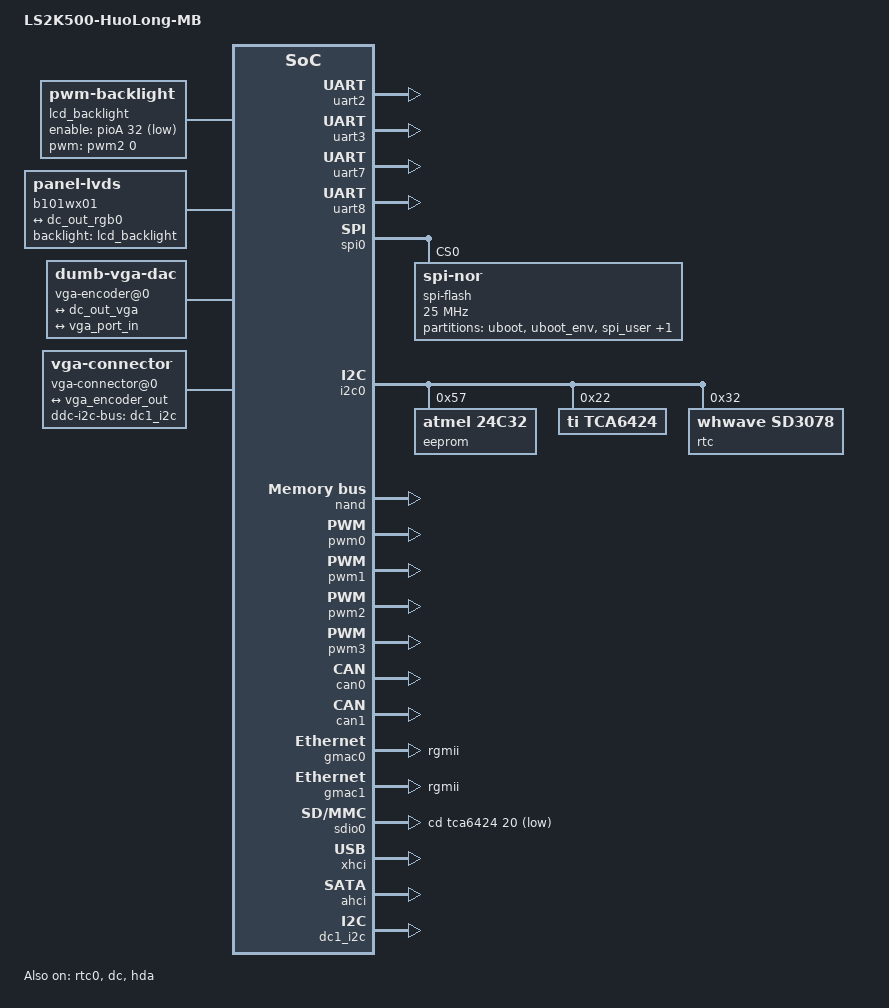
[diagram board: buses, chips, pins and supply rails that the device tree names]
#include "loongson2k500.dtsi"
#include "loongson_panel_param.dtsi"

/ {
    model = "LS2K500-HuoLong-MB";
    chosen {
		stdout-path = "serial2:115200n8";
		bootargs = "earlycon";
	};

    // not need memory node, we get memory info from boot params.
    // memory {
	// 	name = "memory";
	// 	device_type = "memory";
	// 	reg =  <0 0x00200000 0 0x0ee00000	/* low 256MB, 0 ~ 2MB reserved, highest 16MB reserved. */
	// 			0 0x90000000 0 0x30000000>;	/* hige 256M ~ 1G */
	// };

    reserved-memory {
		#address-cells = <2>;
		#size-cells = <2>;
		ranges;

		linux,cma {
			compatible = "shared-dma-pool";
			reusable;
			size = <0 0x02000000>;
            alloc-ranges = <0 0x00200000 0 0x09000000>;
			linux,cma-default;
		};

        fb_memory: framebuffer@0b000000 {
            compatible = "shared-dma-pool";
			no-map;
			reg = <0 0x0b000000 0 0x04000000>; /* 64M */
		};
	};
};

&soc {
    lcd_backlight: backlight {
        compatible = "pwm-backlight";
        pwms = <&pwm2 0 5000000>;

        brightness-levels = <0 4 8 16 32 64 128 256 511>;
        default-brightness-level = <8>;

        enable-gpios = <&pioA 32 GPIO_ACTIVE_LOW>;
        post-pwm-on-delay-ms = <10>;
        pwm-off-delay-ms = <10>;
    };

    panel: dvo-connector@0 {
		#address-cells = <1>;
		#size-cells = <0>;
		compatible = "panel-lvds", "auo,b101ean01";
		backlight = <&lcd_backlight>;

		/* lcd power on control gpio */
		// enable-gpios = <&pioA 3 GPIO_ACTIVE_HIGH>;
		// power-supply = <&vdd_lcd>;
		width-mm = <223>;
		height-mm = <125>;
		label = "b101wx01";
		data-mapping = "jeida-24";

		panel-timing {
			clock-frequency = <71000000>;
			hactive = <1280>;
			vactive = <800>;
			hsync-len = <32>;
			hfront-porch = <8>;
			hback-porch = <10>;
			vfront-porch = <3>;
			vback-porch = <3>;
			vsync-len = <6>;
			de-active = <1>;
			hsync-active = <0>;
			vsync-active = <0>;
			pixelclk-active = <0>;
		};

		port@0 {
			reg = <0>;

			#address-cells = <1>;
			#size-cells = <0>;

			dvo_connector_in: endpoint@0 {
				reg = <0>;
				remote-endpoint = <&dc_out_rgb0>;
			};
		};
	};

    vga-encoder@0 {
		compatible = "dumb-vga-dac";

		ports {
			#address-cells = <1>;
			#size-cells = <0>;

			port@0 {
				reg = <0>;
				vga_encoder_in: endpoint {
					remote-endpoint = <&dc_out_vga>;
				};
			};

			port@1 {
				reg = <1>;
				vga_encoder_out: endpoint {
					remote-endpoint = <&vga_port_in>;
				};
			};
		};
	};

	vga-connector@0 {
		compatible = "vga-connector";

		ddc-i2c-bus = <&dc1_i2c>;

		port {
			vga_port_in: endpoint {
				remote-endpoint = <&vga_encoder_out>;
			};
		};
	};
};

&uart2 {
    status = "okay";
};

&uart0 {
    status = "disable";
};

&uart1 {
    status = "disable";
};

&uart3 {
    status = "okay";
};

&uart4 {
    status = "disable";
};

&uart5 {
    status = "disable";
};

&uart6 {
    status = "disable";
};

&uart7 {
    pinctrl-0 = <&uart7_G120_pins>;
    pinctrl-names = "default";
    status = "okay";
};

&uart8 {
    pinctrl-0 = <&uart8_G122_pins>;
    pinctrl-names = "default";
    status = "okay";
};

&uart9 {
    status = "disable";
};

&spi0 {
    status = "okay";

    spi-flash@0 {
        compatible = "jedec,spi-nor";
        spi-max-frequency = <25000000>;
        reg = <0>;

        partitions {
            compatible = "fixed-partitions";
            #address-cells = <1>;
            #size-cells = <1>;

            partition@0 {
                label = "uboot";
                reg = <0x0000000 0x000d0000>;
            };

            partition@0x000d0000 {
                label = "uboot_env";
                reg = <0x000d0000 0x00008000>;
            };

            partition@0x000d8000 {
                label = "spi_user";
                reg = <0x000d8000 0x00008000>;
            };

            partition@0x000e0000 {
                label = "dtb";
                reg = <0x000e0000 0x00020000>;
            };
        };
    };
};

&i2c0 {
    status = "okay";

    eeprom@57 {
    	compatible = "atmel,24c32";
    	reg = <0x57>;
    	pagesize = <32>;
    };

    tca6424:gpio@22 {
        compatible = "ti,tca6424";
        reg = <0x22>;
        gpio-controller;
        #gpio-cells = <2>;
        interrupt-parent = <&extioiic>;
        interrupts = <96>;
    };

    rtc@32 {
        compatible = "whwave,sd3078";
        reg = <0x32>;
    };
};

&nand {
    status = "okay";
    nand-dev-name = "ls-nand";

    partitions {
        compatible = "fixed-partitions";
        #address-cells = <1>;
        #size-cells = <1>;

        partition@0 {
            label = "kernel";
            reg = <0x0000000 0x00e00000>;
        };

        partition@0x01400000 {
            label = "root";
            reg = <0x00e00000 0x0>;
        };
    };
};

&pwm0 {
    status = "okay";
};

&pwm1 {
    status = "okay";
};

&pwm2 {
    status = "okay";
};

&pwm3 {
    status = "okay";
};
&can0 {
    status = "okay";
};

&can1 {
    status = "okay";
};

&rtc0 {
    status = "okay";
};

&gmac0 {
    status = "okay";
    phy-mode = "rgmii";
	max-speed = <100>;
};

&gmac1 {
    status = "okay";
    phy-mode = "rgmii";
	max-speed = <100>;
};

&sdio0 {
    status = "okay";
    cd-gpios = <&tca6424 20 GPIO_ACTIVE_LOW>;
};

&xhci {
    status = "okay";
};

&ahci {
    status = "okay";
};

&dc {
    status = "okay";
    memory-region = <&fb_memory>;

    ports {
        #address-cells = <1>;
        #size-cells = <0>;

        port@0 {
            reg = <0>;
            dc_out_rgb0: endpoint {
                remote-endpoint = <&dvo_connector_in>;
            };
        };

        port@1 {
            reg = <1>;
            dc_out_vga: endpoint {
                remote-endpoint = <&vga_encoder_in>;
            };
        };
    };
};

&dc1_i2c {
    status = "okay";
};

&hda {
    modelname = "alc269-ls2k500-hl";
    status = "okay";
};
